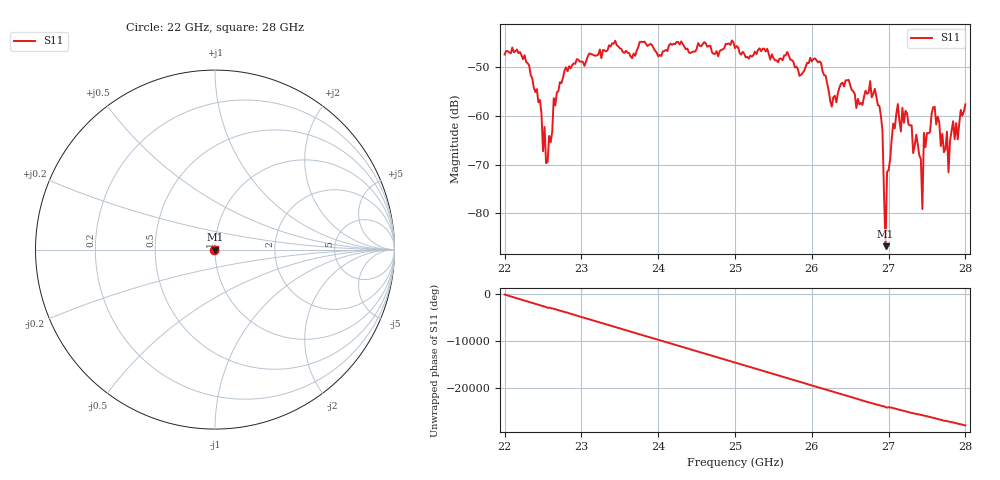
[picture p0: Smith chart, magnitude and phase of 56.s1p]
#  HZ  S  RI  R  50.00
! Rohde & Schwarz ZVA40 4Ports - Version 3.90 - 1145.1110k42 SN: 100403
! Date: 2023-10-04 10:47:18
! Measurement: S12
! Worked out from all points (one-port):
!   301 points, 22 GHz to 28 GHz, reference 50 ohm
!   lowest |S11| = -86.7 dB at 26.96 GHz (marker M1), VSWR 1.00, Z = 50 - j0.000436 ohm
!   |S11| at or under -10 dB: start of sweep to end of sweep
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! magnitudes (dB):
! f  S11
! 22 GHz  -47.4
! 22.32 GHz  -49.6
! 22.46 GHz  -56.7
! 22.54 GHz  -69.7
! 22.64 GHz  -56.3
! 22.76 GHz  -52.2
! 23.5 GHz  -46.1
! 24.26 GHz  -44.8
! 25 GHz  -46.1
! 25.76 GHz  -48.8
! 26.12 GHz  -49.0
! 26.26 GHz  -58.1
! 26.5 GHz  -53.7
! 26.82 GHz  -54.4
! 26.92 GHz  -63.0
! 26.96 GHz  -86.7
! 26.98 GHz  -71.5
! 27.12 GHz  -57.5
! 27.26 GHz  -61.8
! 27.42 GHz  -68.8
! 27.44 GHz  -79.1
! 27.46 GHz  -63.5
! 27.58 GHz  -58.2
! 27.72 GHz  -67.4
! 27.76 GHz  -63.2
! 27.78 GHz  -71.6
! 27.84 GHz  -61.1
! 28 GHz  -57.6
